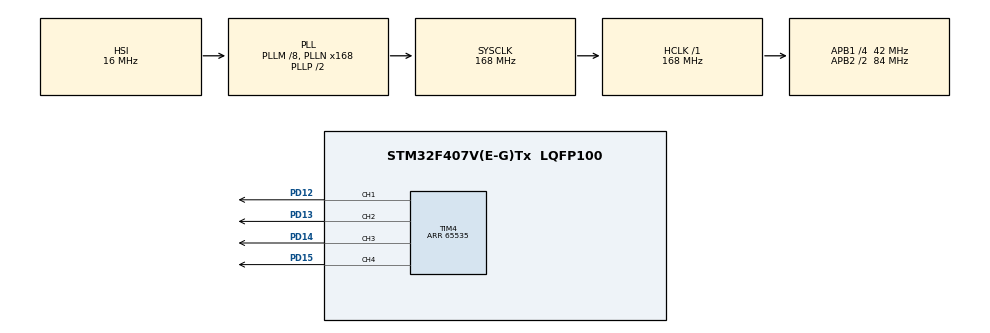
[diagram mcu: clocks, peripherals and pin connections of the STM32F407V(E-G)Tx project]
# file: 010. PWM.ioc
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Mcu.Family=STM32F4
Mcu.Name=STM32F407V(E-G)Tx
Mcu.Package=LQFP100
NVIC.PriorityGroup=NVIC_PRIORITYGROUP_4
NVIC.TIM4_IRQn=true\:0\:0\:false\:false\:true\:true\:true
PD12.GPIO_Speed=GPIO_SPEED_FREQ_HIGH
PD12.Signal=S_TIM4_CH1
PD13.GPIO_Speed=GPIO_SPEED_FREQ_HIGH
PD13.Signal=S_TIM4_CH2
PD14.GPIO_Speed=GPIO_SPEED_FREQ_HIGH
PD14.Signal=S_TIM4_CH3
PD15.GPIO_Speed=GPIO_SPEED_FREQ_HIGH
PD15.Signal=S_TIM4_CH4
PH0-OSC_IN.Mode=HSE-External-Oscillator
PH0-OSC_IN.Signal=RCC_OSC_IN
PH1-OSC_OUT.Mode=HSE-External-Oscillator
PH1-OSC_OUT.Signal=RCC_OSC_OUT
ProjectManager.HeapSize=0x200
ProjectManager.StackSize=0x400
ProjectManager.TargetToolchain=STM32CubeIDE
RCC.48MHZClocksFreq_Value=84000000
RCC.AHBFreq_Value=168000000
RCC.APB1CLKDivider=RCC_HCLK_DIV4
RCC.APB1Freq_Value=42000000
RCC.APB1TimFreq_Value=84000000
RCC.APB2CLKDivider=RCC_HCLK_DIV2
RCC.APB2Freq_Value=84000000
RCC.APB2TimFreq_Value=168000000
RCC.CortexFreq_Value=168000000
RCC.HCLKFreq_Value=168000000
RCC.HSE_VALUE=25000000
RCC.HSI_VALUE=16000000
RCC.LSE_VALUE=32768
RCC.PLLM=8
RCC.PLLN=168
RCC.SYSCLKFreq_VALUE=168000000
RCC.SYSCLKSource=RCC_SYSCLKSOURCE_PLLCLK
RCC.VCOOutputFreq_Value=336000000
SH.S_TIM4_CH1.0=TIM4_CH1,PWM Generation1 CH1
SH.S_TIM4_CH2.0=TIM4_CH2,PWM Generation2 CH2
SH.S_TIM4_CH3.0=TIM4_CH3,PWM Generation3 CH3
SH.S_TIM4_CH4.0=TIM4_CH4,PWM Generation4 CH4
TIM4.Channel-PWM\ Generation1\ CH1=TIM_CHANNEL_1
TIM4.Channel-PWM\ Generation2\ CH2=TIM_CHANNEL_2
TIM4.Channel-PWM\ Generation3\ CH3=TIM_CHANNEL_3
TIM4.Channel-PWM\ Generation4\ CH4=TIM_CHANNEL_4
TIM4.Period=65535
board=custom

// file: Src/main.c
/* USER CODE BEGIN Header */
/**
 ******************************************************************************
 * @file           : main.c
 * @brief          : Main program body
 ******************************************************************************
 * @attention
 *
 * <h2><center>&copy; Copyright (c) 2019 STMicroelectronics.
 * All rights reserved.</center></h2>
 *
 * This software component is licensed by ST under BSD 3-Clause license,
 * the "License"; You may not use this file except in compliance with the
 * License. You may obtain a copy of the License at:
 *                        opensource.org/licenses/BSD-3-Clause
 *
 ******************************************************************************
 */
/* USER CODE END Header */

#include "main.h"
#include "tim.h"
#include "gpio.h"

/* USER CODE BEGIN Includes */
#include <math.h>
/* USER CODE END Includes */

void SystemClock_Config(void);

/* USER CODE BEGIN 0 */
void some_delay()
{
	ui16 i;

	for(i = 0; i < 300; i++)
	{
		// small delay
	}
}

/* USER CODE END 0 */

int main(void)
{

	/* MCU Configuration--------------------------------------------------------*/

	/* Reset of all peripherals, Initializes the Flash interface and the Systick. */
	HAL_Init();

	/* Configure the system clock */
	SystemClock_Config();

	/* Initialize all configured peripherals */
	MX_GPIO_Init();
	MX_TIM4_Init();
	/* USER CODE BEGIN 2 */

	HAL_TIM_PWM_Start(&htim4, TIM_CHANNEL_1);
	HAL_TIM_PWM_Start(&htim4, TIM_CHANNEL_2);
	HAL_TIM_PWM_Start(&htim4, TIM_CHANNEL_3);
	HAL_TIM_PWM_Start(&htim4, TIM_CHANNEL_4);

	uint8_t i;
	uint32_t j;
	__IO uint32_t *reg;
	uint16_t max_pwm_lim = 2 * 65535; // max limit for 'for' loop

	/* USER CODE END 2 */

	/* Infinite loop */
	/* USER CODE BEGIN WHILE */
	while (1)
	{

		for(i = 1; i <= 4; ++i)
		{
			switch (i)
			{
			case 1:
				reg = &(TIM4->CCR1);
				break;
			case 2:
				reg = &(TIM4->CCR2);
				break;
			case 3:
				reg = &(TIM4->CCR3);
				break;
			case 4:
				reg = &(TIM4->CCR4);
				break;
			default:
				break;
			}

			for(j = 0; j <= max_pwm_lim; ++j)
			{
				if (j > 65535)
					*reg = max_pwm_lim - j;
				else
					*reg = j;

				some_delay();
			}
		}

		/* USER CODE END WHILE */

	}
}

void SystemClock_Config(void)
{
	RCC_OscInitTypeDef RCC_OscInitStruct = {0};
	RCC_ClkInitTypeDef RCC_ClkInitStruct = {0};

	/** Configure the main internal regulator output voltage
	 */
	__HAL_RCC_PWR_CLK_ENABLE();
	__HAL_PWR_VOLTAGESCALING_CONFIG(PWR_REGULATOR_VOLTAGE_SCALE1);
	/** Initializes the CPU, AHB and APB busses clocks
	 */
	RCC_OscInitStruct.OscillatorType = RCC_OSCILLATORTYPE_HSI;
	RCC_OscInitStruct.HSIState = RCC_HSI_ON;
	RCC_OscInitStruct.HSICalibrationValue = RCC_HSICALIBRATION_DEFAULT;
	RCC_OscInitStruct.PLL.PLLState = RCC_PLL_ON;
	RCC_OscInitStruct.PLL.PLLSource = RCC_PLLSOURCE_HSI;
	RCC_OscInitStruct.PLL.PLLM = 8;
	RCC_OscInitStruct.PLL.PLLN = 168;
	RCC_OscInitStruct.PLL.PLLP = RCC_PLLP_DIV2;
	RCC_OscInitStruct.PLL.PLLQ = 4;
	if (HAL_RCC_OscConfig(&RCC_OscInitStruct) != HAL_OK)
	{
		Error_Handler();
	}
	/** Initializes the CPU, AHB and APB busses clocks
	 */
	RCC_ClkInitStruct.ClockType = RCC_CLOCKTYPE_HCLK|RCC_CLOCKTYPE_SYSCLK
			|RCC_CLOCKTYPE_PCLK1|RCC_CLOCKTYPE_PCLK2;
	RCC_ClkInitStruct.SYSCLKSource = RCC_SYSCLKSOURCE_PLLCLK;
	RCC_ClkInitStruct.AHBCLKDivider = RCC_SYSCLK_DIV1;
	RCC_ClkInitStruct.APB1CLKDivider = RCC_HCLK_DIV4;
	RCC_ClkInitStruct.APB2CLKDivider = RCC_HCLK_DIV2;

	if (HAL_RCC_ClockConfig(&RCC_ClkInitStruct, FLASH_LATENCY_5) != HAL_OK)
	{
		Error_Handler();
	}
}

void Error_Handler(void)
{
}

/************************ (C) COPYRIGHT STMicroelectronics *****END OF FILE****/
